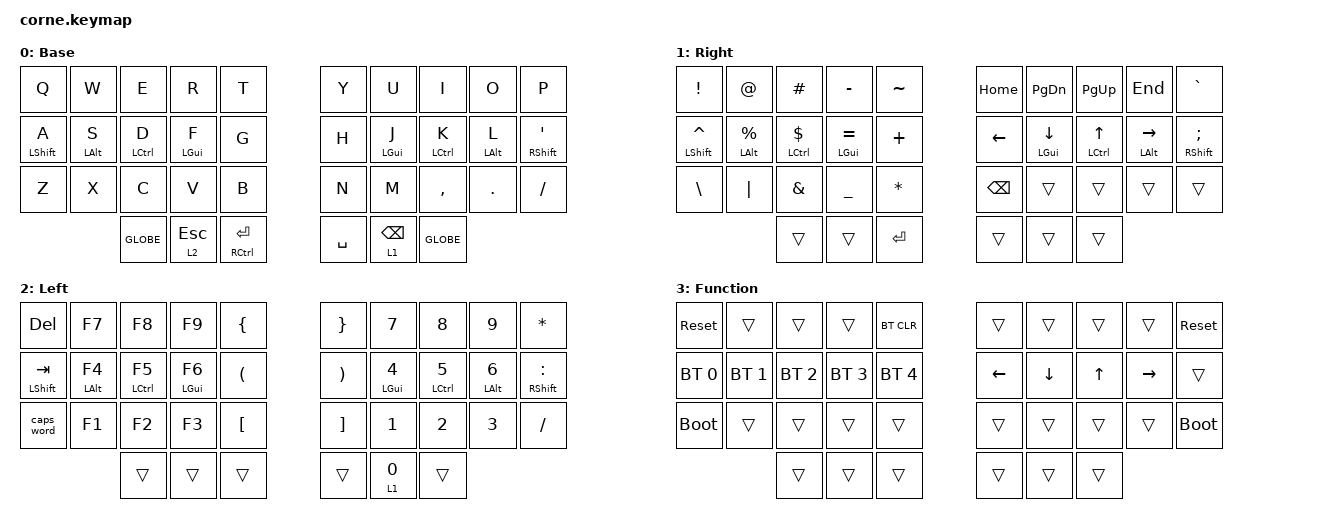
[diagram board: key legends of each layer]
// Copyright (c) 2022 The ZMK Contributors
// SPDX-License-Identifier: MIT

#include <behaviors.dtsi>
#include <dt-bindings/zmk/bt.h>
#include <dt-bindings/zmk/keys.h>

/ {
    chosen { zmk,matrix_transform = &five_column_transform; };

    behaviors {
        ht: ht {
            compatible = "zmk,behavior-hold-tap";
            label = "Hold and Tap";
            #binding-cells = <2>;
            bindings = <&kp>, <&kp>;

            tapping-term-ms = <200>;
            quick-tap-ms = <150>;
            require-prior-idle-ms = <100>;
            flavor = "tap-preferred";
        };

        td_bspc: td_bspc {
            compatible = "zmk,behavior-tap-dance";
            label = "TD_BSPC";
            #binding-cells = <0>;
            tapping-term-ms = <180>;
            bindings = <&lt 1 BSPC>, <&kp BSPC>;
        };
    };

    keymap {
        compatible = "zmk,keymap";

        Base {
            bindings = <
  &kp Q        &kp W       &kp E        &kp R         &kp T              &kp Y      &kp U       &kp I        &kp O       &kp P
  &ht LSHFT A  &ht LALT S  &ht LCTRL D  &ht LGUI F    &kp G              &kp H      &ht LGUI J  &ht LCTRL K  &ht LALT L  &ht RSHFT SQT
  &kp Z        &kp X       &kp C        &kp V         &kp B              &kp N      &kp M       &kp COMMA    &kp DOT     &kp FSLH
                           &kp GLOBE    &lt 2 ESCAPE  &mt RCTRL ENTER    &kp SPACE  &lt 1 BSPC  &kp GLOBE
            >;
        };

        Right {
            bindings = <
  &kp EXCL          &kp AT          &kp HASH        &kp MINUS       &kp TILDE    &kp HOME       &kp PAGE_DOWN  &kp PAGE_UP   &kp END         &kp GRAVE
  &ht LSHIFT CARET  &ht LALT PRCNT  &ht LCTRL DLLR  &ht LGUI EQUAL  &kp PLUS     &kp LEFT       &ht LGUI DOWN  &ht LCTRL UP  &ht LALT RIGHT  &ht RSHFT SEMI
  &kp BSLH          &kp PIPE        &kp AMPS        &kp UNDER       &kp ASTRK    &kp BACKSPACE  &trans         &trans        &trans          &trans
                                    &trans          &trans          &kp ENTER    &trans         &trans         &trans
            >;
        };

        Left {
            bindings = <
  &kp DEL         &kp F7       &kp F8        &kp F9       &kp LBRC    &kp RBRC  &kp N7       &kp N8        &kp N9       &kp ASTRK
  &ht LSHIFT TAB  &ht LALT F4  &ht LCTRL F5  &ht LGUI F6  &kp LPAR    &kp RPAR  &ht LGUI N4  &ht LCTRL N5  &ht LALT N6  &ht RSHIFT COLON
  &caps_word      &kp F1       &kp F2        &kp F3       &kp LBKT    &kp RBKT  &kp N1       &kp N2        &kp N3       &kp SLASH
                               &trans        &trans       &trans      &trans    &lt 1 N0     &trans
            >;
        };

        Function {
            bindings = <
  &sys_reset    &trans        &trans        &trans        &bt BT_CLR      &trans    &trans    &trans  &trans     &sys_reset
  &bt BT_SEL 0  &bt BT_SEL 1  &bt BT_SEL 2  &bt BT_SEL 3  &bt BT_SEL 4    &kp LEFT  &kp DOWN  &kp UP  &kp RIGHT  &trans
  &bootloader   &trans        &trans        &trans        &trans          &trans    &trans    &trans  &trans     &bootloader
                              &trans        &trans        &trans          &trans    &trans    &trans
            >;
        };
    };

    conditional_layers {
        compatible = "zmk,conditional-layers";

        func_layer {
            if-layers = <1 2>;
            then-layer = <3>;
        };
    };
};
